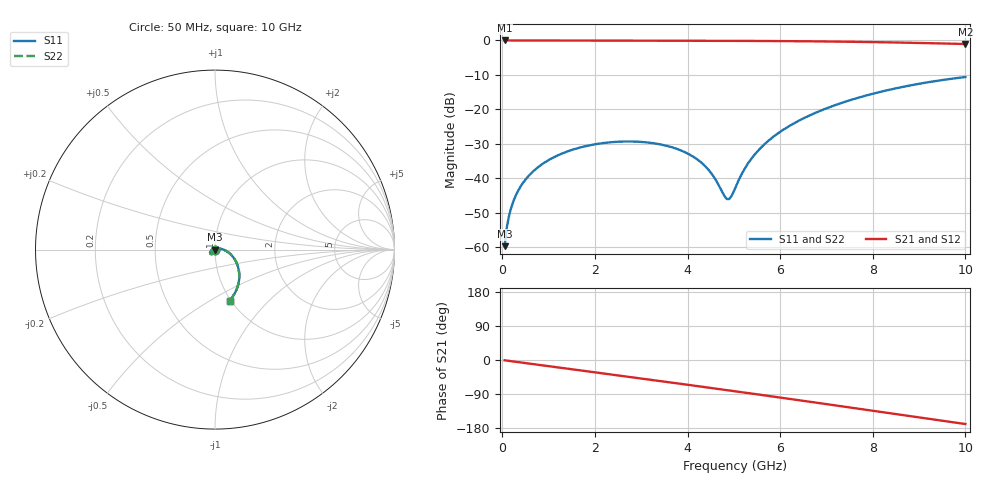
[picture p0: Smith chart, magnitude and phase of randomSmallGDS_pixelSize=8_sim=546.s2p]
! freq	dB(S11)	phase(S11)	dB(S12)	phase(S12)
!  dB(S21)	phase(S21)	dB(S22)	phase(S22)
!S-par simulation data
#  GHz  S  DB  R 50
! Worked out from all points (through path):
!   200 points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, 50 MHz to 10 GHz, reference 50 ohm
!   highest |S21| = 0.00 dB at 50 MHz (marker M1); lowest = -1.0 dB at 10 GHz (marker M2)
!   group delay of S21, straight-line fit = 47 ps
!   lowest |S11| = -59.7 dB at 50 MHz (marker M3), VSWR 1.00, Z = 50 - j0.104 ohm
!   |S11| at or under -10 dB: start of sweep to end of sweep
!   |S22| runs from -59.7 to -10.6 dB; largest |S21 - S12| = 0
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0.05  -59.65 -93.4  -0.00 -0.8  -0.00 -0.8  -59.65 -93.4
0.1  -53.98 -94.3  -0.00 -1.6  -0.00 -1.6  -53.98 -94.3
0.2  -48.15 -95.1  -0.00 -3.3  -0.00 -3.3  -48.15 -95.1
0.35  -43.38 -97.1  -0.00 -5.7  -0.00 -5.7  -43.38 -97.1
0.5  -40.36 -99.4  -0.01 -8.2  -0.01 -8.2  -40.36 -99.4
1  -34.69 -107.8  -0.02 -16.3  -0.02 -16.3  -34.69 -107.8
1.75  -30.81 -120.7  -0.03 -28.5  -0.03 -28.5  -30.81 -120.7
2.6  -29.31 -135.5  -0.05 -42.3  -0.05 -42.3  -29.31 -135.5
3.4  -30.11 -150.5  -0.07 -55.4  -0.07 -55.4  -30.11 -150.4
3.85  -31.85 -160.2  -0.08 -62.8  -0.08 -62.8  -31.85 -160.2
4.25  -34.90 -171.9  -0.09 -69.5  -0.09 -69.5  -34.90 -171.8
4.55  -39.21 172.0  -0.10 -74.5  -0.10 -74.5  -39.21 172.1
4.85  -45.99 112.6  -0.11 -79.5  -0.11 -79.5  -46.01 112.7
4.95  -45.10 74.8  -0.11 -81.2  -0.11 -81.2  -45.13 74.7
5.05  -42.15 49.6  -0.12 -82.9  -0.12 -82.9  -42.17 49.5
5.3  -35.78 23.7  -0.13 -87.1  -0.13 -87.1  -35.79 23.7
5.65  -30.24 9.2  -0.15 -93.1  -0.15 -93.1  -30.24 9.2
6.1  -25.62 -2.4  -0.19 -100.8  -0.19 -100.8  -25.62 -2.4
6.7  -21.36 -14.9  -0.25 -111.2  -0.25 -111.2  -21.36 -14.9
8.35  -14.32 -45.4  -0.55 -140.1  -0.55 -140.1  -14.32 -45.4
9.2  -12.11 -60.3  -0.78 -155.0  -0.78 -155.0  -12.11 -60.3
10  -10.60 -74.0  -1.03 -169.0  -1.03 -169.0  -10.60 -74.1
